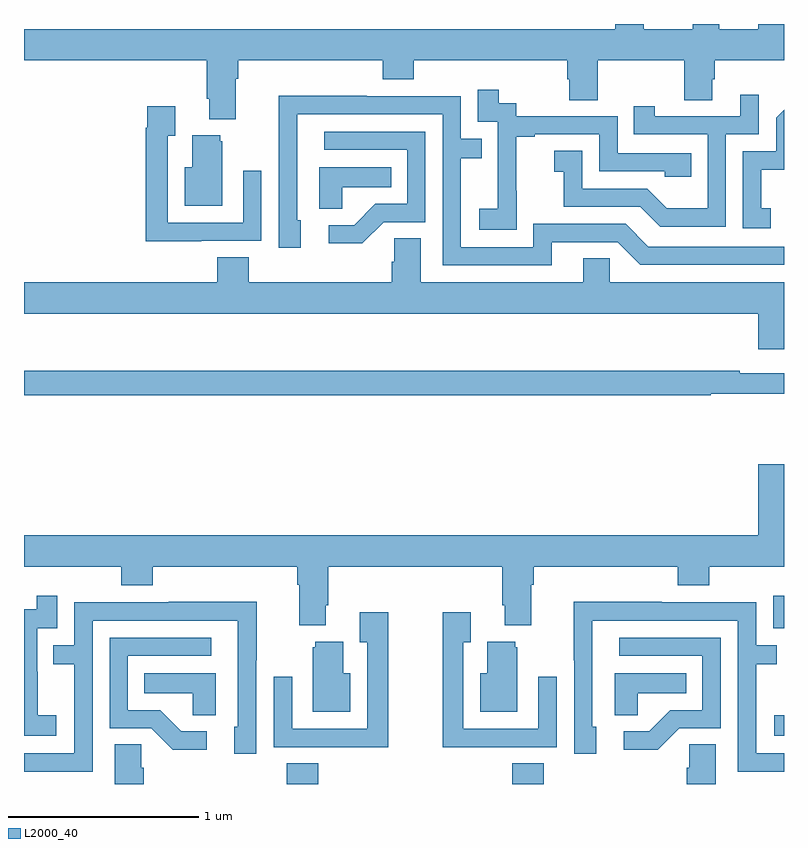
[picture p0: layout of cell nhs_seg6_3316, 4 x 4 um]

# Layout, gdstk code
import gdstk
lib = gdstk.Library(unit=1e-6, precision=1e-09)
def R(c, l, rs):  # rectangles x0, y0, x1, y1
    for r in rs: c.add(gdstk.rectangle(r[:2], r[2:], *l))
def P(c, l, *ps):  # polygons
    for p in ps: c.add(gdstk.Polygon(p, *l))
L2000_40 = (2000, 40)

nhs_seg6_3316 = lib.new_cell('nhs_seg6_3316')
R(nhs_seg6_3316, L2000_40, [(306.383,971.5,306.548,971.609), (307.571,971.5,307.736,971.609), (308.949,971.753,309,971.863), (308.943,972.321,309,972.49)])
P(nhs_seg6_3316, L2000_40, [(305,975.308),(305.963,975.308),(305.963,975.106),(305.975,975.106),(305.975,974.999),(306.115,974.999),(306.115,975.212),(306.128,975.212),(306.128,975.308),(306.887,975.308),(306.887,975.209),(307.052,975.209),(307.052,975.308),(307.859,975.308),(307.859,975.21),(307.871,975.21),(307.871,975.1),(308.019,975.1),(308.019,975.308),(308.476,975.308),(308.476,975.1),(308.623,975.1),(308.623,975.21),(308.636,975.21),(308.636,975.308),(309,975.308),(309,975.5),(308.864,975.5),(308.864,975.472),(308.659,975.472),(308.659,975.5),(308.519,975.5),(308.519,975.472),(308.263,975.472),(308.263,975.5),(308.111,975.5),(308.111,975.472),(305,975.472)],
  [(307.593,974.623),(307.592,974.623),(307.592,974.907),(307.687,974.907),(307.687,974.919),(308.028,974.919),(308.028,974.724),(308.373,974.724),(308.373,974.697),(308.513,974.697),(308.513,974.82),(308.124,974.82),(308.124,975.015),(307.59,975.015),(307.59,975.084),(307.498,975.084),(307.498,975.154),(307.389,975.154),(307.389,974.985),(307.494,974.985),(307.494,974.756),(307.493,974.756),(307.493,974.527),(307.395,974.527),(307.395,974.417),(307.593,974.417)],
  [(308.694,974.919),(308.868,974.919),(308.868,975.127),(308.771,975.127),(308.771,975.015),(308.32,975.015),(308.32,975.067),(308.209,975.067),(308.209,974.919),(308.598,974.919),(308.598,974.53),(308.384,974.53),(308.28,974.634),(307.938,974.634),(307.938,974.833),(307.791,974.833),(307.791,974.723),(307.84,974.723),(307.84,974.538),(308.243,974.538),(308.348,974.433),(308.694,974.433)],
  [(307.777,974.352),(308.124,974.352),(308.244,974.232),(309,974.232),(309,974.328),(308.286,974.328),(308.166,974.448),(307.68,974.448),(307.68,974.325),(307.299,974.325),(307.299,974.794),(307.409,974.794),(307.409,974.895),(307.299,974.895),(307.299,975.12),(306.803,975.12),(306.803,975.122),(306.34,975.122),(306.34,974.815),(306.342,974.815),(306.342,974.322),(306.457,974.322),(306.457,974.466),(306.438,974.466),(306.438,975.024),(307.203,975.024),(307.203,974.229),(307.777,974.229)],
  [(305.933,974.358),(306.249,974.358),(306.249,974.728),(306.153,974.728),(306.153,974.454),(305.757,974.454),(305.757,974.911),(305.797,974.911),(305.797,975.067),(305.649,975.067),(305.649,974.954),(305.641,974.954),(305.641,974.357),(305.933,974.357)],
  [(308.93,974.529),(308.881,974.529),(308.881,974.733),(309,974.733),(309,975.048),(308.958,975.006),(308.958,974.829),(308.784,974.829),(308.784,974.424),(308.93,974.424)],
  [(306.894,974.457),(307.113,974.457),(307.113,974.934),(306.579,974.934),(306.579,974.838),(307.017,974.838),(307.017,974.553),(306.848,974.553),(306.737,974.442),(306.603,974.442),(306.603,974.345),(306.781,974.345)],
  [(306.043,974.883),(306.032,974.883),(306.032,974.914),(305.885,974.914),(305.885,974.746),(305.846,974.746),(305.846,974.543),(306.043,974.543)],
  [(306.675,974.642),(306.932,974.642),(306.932,974.746),(306.554,974.746),(306.554,974.527),(306.675,974.527)],
  [(309,974.14),(308.082,974.14),(308.082,974.267),(307.943,974.267),(307.943,974.14),(307.087,974.14),(307.087,974.372),(306.948,974.372),(306.948,974.249),(306.935,974.249),(306.935,974.14),(306.182,974.14),(306.182,974.273),(306.017,974.273),(306.017,974.14),(305,974.14),(305,973.976),(308.864,973.976),(308.864,973.788),(309,973.788)],
  [(308.614,973.554),(309,973.554),(309,973.662),(308.768,973.662),(308.768,973.675),(305,973.675),(305,973.546),(308.614,973.546)],
  [(306.589,972.442),(306.602,972.442),(306.602,972.644),(307.517,972.644),(307.517,972.442),(307.529,972.442),(307.529,972.335),(307.669,972.335),(307.669,972.548),(307.682,972.548),(307.682,972.644),(308.441,972.644),(308.441,972.545),(308.606,972.545),(308.606,972.644),(309,972.644),(309,973.183),(308.864,973.183),(308.864,972.808),(305,972.808),(305,972.644),(305.513,972.644),(305.513,972.545),(305.678,972.545),(305.678,972.644),(306.437,972.644),(306.437,972.548),(306.449,972.548),(306.449,972.335),(306.589,972.335)],
  [(305.17,971.863),(305.072,971.863),(305.072,972.092),(305.07,972.092),(305.07,972.321),(305.175,972.321),(305.175,972.49),(305.067,972.49),(305.067,972.42),(305,972.42),(305,971.753),(305.17,971.753)],
  [(309,971.661),(308.853,971.661),(308.853,972.13),(308.963,972.13),(308.963,972.231),(308.853,972.231),(308.853,972.456),(308.357,972.456),(308.357,972.458),(307.894,972.458),(307.894,972.151),(307.896,972.151),(307.896,971.658),(308.011,971.658),(308.011,971.802),(307.992,971.802),(307.992,972.36),(308.757,972.36),(308.757,971.565),(309,971.565)],
  [(305.361,972.36),(306.126,972.36),(306.126,971.802),(306.107,971.802),(306.107,971.658),(306.222,971.658),(306.222,972.151),(306.225,972.151),(306.225,972.458),(305.761,972.458),(305.761,972.456),(305.265,972.456),(305.265,972.231),(305.155,972.231),(305.155,972.13),(305.265,972.13),(305.265,971.661),(305,971.661),(305,971.565),(305.361,971.565)],
  [(307.487,971.694),(307.803,971.694),(307.803,972.064),(307.707,972.064),(307.707,971.79),(307.311,971.79),(307.311,972.247),(307.351,972.247),(307.351,972.403),(307.203,972.403),(307.203,971.693),(307.487,971.693)],
  [(306.916,972.403),(306.767,972.403),(306.767,972.247),(306.807,972.247),(306.807,971.79),(306.411,971.79),(306.411,972.064),(306.315,972.064),(306.315,971.694),(306.631,971.694),(306.631,971.693),(306.916,971.693)],
  [(308.448,971.793),(308.667,971.793),(308.667,972.27),(308.133,972.27),(308.133,972.174),(308.571,972.174),(308.571,971.889),(308.402,971.889),(308.291,971.778),(308.157,971.778),(308.157,971.681),(308.335,971.681)],
  [(305.962,971.778),(305.827,971.778),(305.716,971.889),(305.547,971.889),(305.547,972.174),(305.986,972.174),(305.986,972.27),(305.451,972.27),(305.451,971.793),(305.67,971.793),(305.783,971.681),(305.962,971.681)],
  [(306.718,972.082),(306.679,972.082),(306.679,972.25),(306.533,972.25),(306.533,972.219),(306.521,972.219),(306.521,971.879),(306.718,971.879)],
  [(307.597,972.219),(307.586,972.219),(307.586,972.25),(307.439,972.25),(307.439,972.082),(307.4,972.082),(307.4,971.879),(307.597,971.879)],
  [(308.229,971.978),(308.486,971.978),(308.486,972.082),(308.108,972.082),(308.108,971.863),(308.229,971.863)],
  [(306.01,972.082),(305.632,972.082),(305.632,971.978),(305.889,971.978),(305.889,971.863),(306.01,971.863)],
  [(305.63,971.585),(305.616,971.585),(305.616,971.708),(305.477,971.708),(305.477,971.5),(305.63,971.5)],
  [(308.641,971.708),(308.502,971.708),(308.502,971.585),(308.489,971.585),(308.489,971.5),(308.641,971.5)])

lib.write_gds('nhs_seg6_3316.gds')
